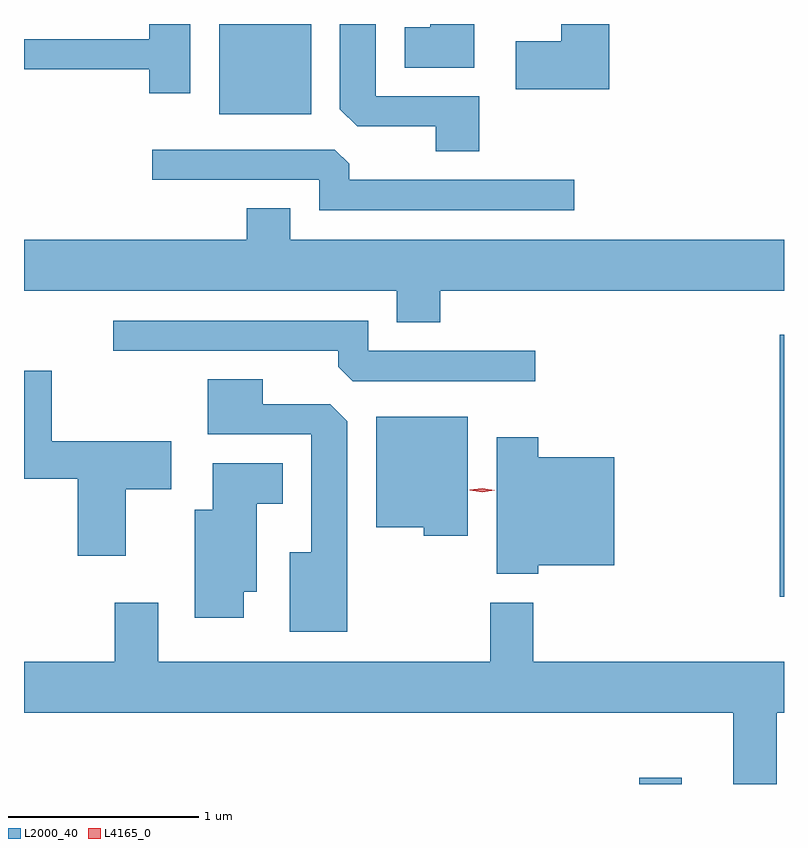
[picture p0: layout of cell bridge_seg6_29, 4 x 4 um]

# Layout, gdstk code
import gdstk
lib = gdstk.Library(unit=1e-6, precision=1e-09)
def R(c, l, rs):  # rectangles x0, y0, x1, y1
    for r in rs: c.add(gdstk.rectangle(r[:2], r[2:], *l))
def P(c, l, *ps):  # polygons
    for p in ps: c.add(gdstk.Polygon(p, *l))
L2000_40 = (2000, 40)
L4165_0 = (4165, 0)

bridge_seg6_29 = lib.new_cell('bridge_seg6_29')
R(bridge_seg6_29, L2000_40, [(1817.386,1651.78,1817.609,1651.814), (1818.126,1652.766,1818.148,1654.144), (1815.176,1655.306,1815.659,1655.78)])
P(bridge_seg6_29, L2000_40, [(1815.024,1655.78),(1814.806,1655.78),(1814.806,1655.699),(1814.148,1655.699),(1814.148,1655.541),(1814.806,1655.541),(1814.806,1655.416),(1815.024,1655.416)],
  [(1817.229,1655.78),(1816.976,1655.78),(1816.976,1655.689),(1816.736,1655.689),(1816.736,1655.436),(1817.229,1655.436)],
  [(1816.544,1655.399),(1815.999,1655.399),(1815.999,1655.78),(1815.811,1655.78),(1815.811,1655.332),(1815.902,1655.241),(1816.316,1655.241),(1816.316,1655.111),(1816.544,1655.111)],
  [(1816.519,1655.78),(1816.286,1655.78),(1816.286,1655.764),(1816.151,1655.764),(1816.151,1655.551),(1816.519,1655.551)],
  [(1817.043,1654.959),(1815.859,1654.959),(1815.859,1655.044),(1815.784,1655.119),(1814.823,1655.119),(1814.823,1654.961),(1815.701,1654.961),(1815.701,1654.801),(1817.043,1654.801)],
  [(1816.339,1654.376),(1818.148,1654.376),(1818.148,1654.644),(1815.549,1654.644),(1815.549,1654.809),(1815.321,1654.809),(1815.321,1654.644),(1814.148,1654.644),(1814.148,1654.376),(1816.111,1654.376),(1816.111,1654.211),(1816.339,1654.211)],
  [(1816.838,1654.059),(1815.959,1654.059),(1815.959,1654.219),(1814.618,1654.219),(1814.618,1654.061),(1815.801,1654.061),(1815.801,1653.977),(1815.877,1653.901),(1816.838,1653.901)],
  [(1814.684,1653.331),(1814.924,1653.331),(1814.924,1653.584),(1814.294,1653.584),(1814.294,1653.954),(1814.148,1653.954),(1814.148,1653.386),(1814.431,1653.386),(1814.431,1652.981),(1814.684,1652.981)],
  [(1815.849,1653.689),(1815.759,1653.779),(1815.404,1653.779),(1815.404,1653.909),(1815.116,1653.909),(1815.116,1653.621),(1815.661,1653.621),(1815.661,1652.999),(1815.546,1652.999),(1815.546,1652.581),(1815.849,1652.581)],
  [(1816.484,1653.714),(1816.001,1653.714),(1816.001,1653.131),(1816.251,1653.131),(1816.251,1653.086),(1816.484,1653.086)],
  [(1816.854,1652.931),(1817.254,1652.931),(1817.254,1653.499),(1816.854,1653.499),(1816.854,1653.604),(1816.636,1653.604),(1816.636,1652.886),(1816.854,1652.886)],
  [(1815.304,1652.791),(1815.374,1652.791),(1815.374,1653.256),(1815.509,1653.256),(1815.509,1653.469),(1815.141,1653.469),(1815.141,1653.224),(1815.046,1653.224),(1815.046,1652.656),(1815.304,1652.656)],
  [(1818.109,1652.156),(1818.148,1652.156),(1818.148,1652.424),(1816.829,1652.424),(1816.829,1652.734),(1816.601,1652.734),(1816.601,1652.424),(1814.854,1652.424),(1814.854,1652.734),(1814.626,1652.734),(1814.626,1652.424),(1814.148,1652.424),(1814.148,1652.156),(1817.881,1652.156),(1817.881,1651.78),(1818.109,1651.78)])
P(bridge_seg6_29, L4165_0, [(1816.56,1653.316),(1816.494,1653.327),(1816.493,1653.328),(1816.494,1653.328),(1816.56,1653.336),(1816.626,1653.326),(1816.626,1653.325),(1816.626,1653.325)])

lib.write_gds('bridge_seg6_29.gds')
